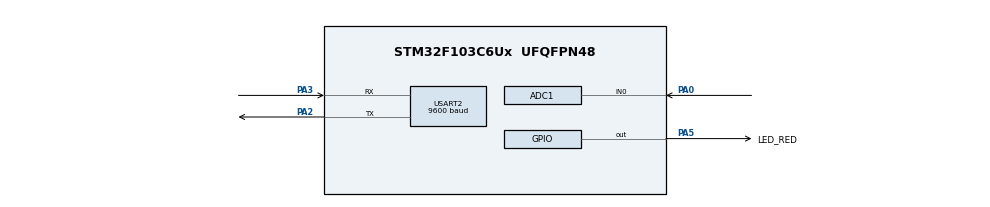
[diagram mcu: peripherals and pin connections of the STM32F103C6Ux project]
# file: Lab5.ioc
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ADC1.Channel-0\#ChannelRegularConversion=ADC_CHANNEL_0
ADC1.ContinuousConvMode=ENABLE
ADC1.NbrOfConversionFlag=1
ADC1.Rank-0\#ChannelRegularConversion=1
ADC1.SamplingTime-0\#ChannelRegularConversion=ADC_SAMPLETIME_1CYCLE_5
ADC1.master=1
Mcu.Family=STM32F1
Mcu.Name=STM32F103C6Ux
Mcu.Package=UFQFPN48
NVIC.PriorityGroup=NVIC_PRIORITYGROUP_4
NVIC.TIM2_IRQn=true\:0\:0\:false\:false\:true\:true\:true
NVIC.USART2_IRQn=true\:0\:0\:false\:false\:true\:true\:true
PA0-WKUP.Signal=ADCx_IN0
PA2.Mode=Asynchronous
PA2.Signal=USART2_TX
PA3.Mode=Asynchronous
PA3.Signal=USART2_RX
PA5.GPIO_Label=LED_RED
PA5.Signal=GPIO_Output
ProjectManager.HeapSize=0x200
ProjectManager.StackSize=0x400
ProjectManager.TargetToolchain=STM32CubeIDE
RCC.APB1Freq_Value=8000000
RCC.APB2Freq_Value=8000000
SH.ADCx_IN0.0=ADC1_IN0,IN0
TIM2.Period=10
TIM2.Prescaler=7999
USART2.BaudRate=9600
USART2.VirtualMode=VM_ASYNC
VP_SYS_VS_ND.Mode=No_Debug
VP_TIM2_VS_ClockSourceINT.Mode=Internal
board=custom

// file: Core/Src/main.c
/* USER CODE BEGIN Header */
/**
  ******************************************************************************
  * @file           : main.c
  * @brief          : Main program body
  ******************************************************************************
  * @attention
  *
  * <h2><center>&copy; Copyright (c) 2022 STMicroelectronics.
  * All rights reserved.</center></h2>
  *
  * This software component is licensed by ST under BSD 3-Clause license,
  * the "License"; You may not use this file except in compliance with the
  * License. You may obtain a copy of the License at:
  *                        opensource.org/licenses/BSD-3-Clause
  *
  ******************************************************************************
  */
/* USER CODE END Header */
#include "main.h"

/* USER CODE BEGIN Includes */
#include <stdio.h>
#include "software_timer.h"
/* USER CODE END Includes */

ADC_HandleTypeDef hadc1;

TIM_HandleTypeDef htim2;

UART_HandleTypeDef huart2;

void SystemClock_Config(void);
static void MX_GPIO_Init(void);
static void MX_USART2_UART_Init(void);
static void MX_TIM2_Init(void);
static void MX_ADC1_Init(void);

/* USER CODE BEGIN 0 */
#define MAX_BUFFER_SIZE  30
int check_command1 = 0;
int check_command2 = 0;
uint8_t temp = 0;
uint8_t buffer[MAX_BUFFER_SIZE];
uint8_t index_buffer = 0;
uint8_t buffer_flag = 0;
uint32_t ADC_value = 0;
int flag = 0;
char str[50];

void HAL_UART_RxCpltCallback(UART_HandleTypeDef *huart){
	if(huart->Instance == USART2){
		buffer[index_buffer] = temp;
		buffer_flag = 1;
		if(index_buffer == 30) index_buffer = 0;
		HAL_UART_Receive_IT(&huart2, &temp, 1);
	}
}
/* USER CODE END 0 */

int main(void)
{

  /* MCU Configuration--------------------------------------------------------*/

  /* Reset of all peripherals, Initializes the Flash interface and the Systick. */
  HAL_Init();

  /* Configure the system clock */
  SystemClock_Config();

  /* Initialize all configured peripherals */
  MX_GPIO_Init();
  MX_USART2_UART_Init();
  MX_TIM2_Init();
  MX_ADC1_Init();
  /* USER CODE BEGIN 2 */
  HAL_TIM_Base_Start_IT (& htim2 );
  HAL_UART_Receive_IT (& huart2 , &temp , 1);
  /* USER CODE END 2 */
  /* Infinite loop */
  /* USER CODE BEGIN WHILE */
  void command_parser_fsm()
  {
	  flag = 1;
	  HAL_UART_Transmit (& huart2 , buffer , sizeof(buffer),3000);
  }

  void uart_communiation_fsm()
  {
	  switch (buffer[index_buffer]) {
		case 33:
			if(check_command1 == 0 && flag == 1)
			{
				check_command1++;
				flag = 0;
			}
			if(check_command1 != 0 && flag == 1)
			{
				check_command1 = 0;
				flag = 0;
			}
			break;
		case 82:
			if(check_command1 == 1 && flag == 1)
			{
				check_command1++;
				flag = 0;
			}
			if(check_command1 != 1 && flag == 1)
			{
				check_command1 = 0;
				flag = 0;
			}
			break;
		case 83:
			if(check_command1 == 2 && flag == 1)
			{
				check_command1++;
				flag = 0;
			}
			if(check_command1 != 2 && flag == 1)
			{
				check_command1 = 0;
				flag = 0;
			}
			break;
		case 84:
			if(check_command1 == 3 && flag == 1)
			{
				check_command1++;
				flag = 0;
			}
			if(check_command1 != 3 && flag == 1)
			{
				check_command1 = 0;
				flag = 0;
			}
			break;
		case 35:
			if(check_command1 == 4 && flag == 1)
			{
				check_command1++;
				flag = 0;
			}
			if(check_command1 != 4 && flag == 1)
			{
				check_command1 = 0;
				flag = 0;
			}
			break;
		default:
			if(check_command1 != 5)
			{
				check_command1 = 0;
				flag = 0;
			}
			break;
	  }
	  if(check_command1 == 5)
	  {
		  if(timer1_flag == 1)
		  {
			  HAL_ADC_Start(&hadc1);
			  ADC_value = HAL_ADC_GetValue (& hadc1 );
			  HAL_ADC_Stop(&hadc1);
			  HAL_UART_Transmit (& huart2 , ( void *) str , sprintf (str , " !ADC=%d#\n", ADC_value ), 1000);
			  setTimer1(1000);
		  }
		  switch (buffer[index_buffer]) {
			  case 33:
					if(check_command2 == 0 && flag == 1)
					{
						check_command2++;
						flag = 0;
					}
					if(check_command2 != 0 && flag == 1)
					{
						check_command2 = 0;
						flag = 0;
					}
					break;
			  case 79:
				  	if(check_command2 == 1 && flag == 1)
					{
						check_command2++;
						flag = 0;
					}
				  	if(check_command2 != 1 && flag == 1)
					{
						check_command2 = 0;
						flag = 0;
					}
					break;
			  case 75:
					if(check_command2 == 2  && flag == 1)
					{
						check_command2++;
						flag = 0;
					}
					if(check_command2 != 2 && flag == 1)
					{
						check_command2 = 0;
						flag = 0;
					}
					break;
			  case 35:
					if(check_command2 == 3  && flag == 1)
					{
						check_command2++;
						flag = 0;
					}
					if(check_command2 != 3 && flag == 1)
					{
						check_command2 = 0;
						flag = 0;
					}
					break;
			default:
				check_command2 = 0;
				break;

		  }
		  if(check_command2 == 4)
		  {
			  check_command1 = 0;
			  check_command2 = 0;
		  }
	  }
	  if(timer2_flag == 1)
	  {
		  HAL_GPIO_TogglePin ( LED_RED_GPIO_Port , LED_RED_Pin );
		  setTimer2(1000);
	  }
  }
  setTimer1(1000);
  setTimer2(1000);
  while (1)
  {
	  if(buffer_flag == 1){
		 command_parser_fsm();
		 buffer_flag = 0;
	 }
	 uart_communiation_fsm ();
    /* USER CODE END WHILE */

  }
}

void SystemClock_Config(void)
{
  RCC_OscInitTypeDef RCC_OscInitStruct = {0};
  RCC_ClkInitTypeDef RCC_ClkInitStruct = {0};
  RCC_PeriphCLKInitTypeDef PeriphClkInit = {0};

  /** Initializes the RCC Oscillators according to the specified parameters
  * in the RCC_OscInitTypeDef structure.
  */
  RCC_OscInitStruct.OscillatorType = RCC_OSCILLATORTYPE_HSI;
  RCC_OscInitStruct.HSIState = RCC_HSI_ON;
  RCC_OscInitStruct.HSICalibrationValue = RCC_HSICALIBRATION_DEFAULT;
  RCC_OscInitStruct.PLL.PLLState = RCC_PLL_NONE;
  if (HAL_RCC_OscConfig(&RCC_OscInitStruct) != HAL_OK)
  {
    Error_Handler();
  }
  /** Initializes the CPU, AHB and APB buses clocks
  */
  RCC_ClkInitStruct.ClockType = RCC_CLOCKTYPE_HCLK|RCC_CLOCKTYPE_SYSCLK
                              |RCC_CLOCKTYPE_PCLK1|RCC_CLOCKTYPE_PCLK2;
  RCC_ClkInitStruct.SYSCLKSource = RCC_SYSCLKSOURCE_HSI;
  RCC_ClkInitStruct.AHBCLKDivider = RCC_SYSCLK_DIV1;
  RCC_ClkInitStruct.APB1CLKDivider = RCC_HCLK_DIV1;
  RCC_ClkInitStruct.APB2CLKDivider = RCC_HCLK_DIV1;

  if (HAL_RCC_ClockConfig(&RCC_ClkInitStruct, FLASH_LATENCY_0) != HAL_OK)
  {
    Error_Handler();
  }
  PeriphClkInit.PeriphClockSelection = RCC_PERIPHCLK_ADC;
  PeriphClkInit.AdcClockSelection = RCC_ADCPCLK2_DIV2;
  if (HAL_RCCEx_PeriphCLKConfig(&PeriphClkInit) != HAL_OK)
  {
    Error_Handler();
  }
}

static void MX_ADC1_Init(void)
{

  ADC_ChannelConfTypeDef sConfig = {0};

  /** Common config
  */
  hadc1.Instance = ADC1;
  hadc1.Init.ScanConvMode = ADC_SCAN_DISABLE;
  hadc1.Init.ContinuousConvMode = ENABLE;
  hadc1.Init.DiscontinuousConvMode = DISABLE;
  hadc1.Init.ExternalTrigConv = ADC_SOFTWARE_START;
  hadc1.Init.DataAlign = ADC_DATAALIGN_RIGHT;
  hadc1.Init.NbrOfConversion = 1;
  if (HAL_ADC_Init(&hadc1) != HAL_OK)
  {
    Error_Handler();
  }
  /** Configure Regular Channel
  */
  sConfig.Channel = ADC_CHANNEL_0;
  sConfig.Rank = ADC_REGULAR_RANK_1;
  sConfig.SamplingTime = ADC_SAMPLETIME_1CYCLE_5;
  if (HAL_ADC_ConfigChannel(&hadc1, &sConfig) != HAL_OK)
  {
    Error_Handler();
  }

}

static void MX_TIM2_Init(void)
{

  TIM_ClockConfigTypeDef sClockSourceConfig = {0};
  TIM_MasterConfigTypeDef sMasterConfig = {0};

  htim2.Instance = TIM2;
  htim2.Init.Prescaler = 7999;
  htim2.Init.CounterMode = TIM_COUNTERMODE_UP;
  htim2.Init.Period = 10;
  htim2.Init.ClockDivision = TIM_CLOCKDIVISION_DIV1;
  htim2.Init.AutoReloadPreload = TIM_AUTORELOAD_PRELOAD_DISABLE;
  if (HAL_TIM_Base_Init(&htim2) != HAL_OK)
  {
    Error_Handler();
  }
  sClockSourceConfig.ClockSource = TIM_CLOCKSOURCE_INTERNAL;
  if (HAL_TIM_ConfigClockSource(&htim2, &sClockSourceConfig) != HAL_OK)
  {
    Error_Handler();
  }
  sMasterConfig.MasterOutputTrigger = TIM_TRGO_RESET;
  sMasterConfig.MasterSlaveMode = TIM_MASTERSLAVEMODE_DISABLE;
  if (HAL_TIMEx_MasterConfigSynchronization(&htim2, &sMasterConfig) != HAL_OK)
  {
    Error_Handler();
  }

}

static void MX_USART2_UART_Init(void)
{

  huart2.Instance = USART2;
  huart2.Init.BaudRate = 9600;
  huart2.Init.WordLength = UART_WORDLENGTH_8B;
  huart2.Init.StopBits = UART_STOPBITS_1;
  huart2.Init.Parity = UART_PARITY_NONE;
  huart2.Init.Mode = UART_MODE_TX_RX;
  huart2.Init.HwFlowCtl = UART_HWCONTROL_NONE;
  huart2.Init.OverSampling = UART_OVERSAMPLING_16;
  if (HAL_UART_Init(&huart2) != HAL_OK)
  {
    Error_Handler();
  }

}

static void MX_GPIO_Init(void)
{
  GPIO_InitTypeDef GPIO_InitStruct = {0};

  /* GPIO Ports Clock Enable */
  __HAL_RCC_GPIOA_CLK_ENABLE();

  /*Configure GPIO pin Output Level */
  HAL_GPIO_WritePin(LED_RED_GPIO_Port, LED_RED_Pin, GPIO_PIN_RESET);

  /*Configure GPIO pin : LED_RED_Pin */
  GPIO_InitStruct.Pin = LED_RED_Pin;
  GPIO_InitStruct.Mode = GPIO_MODE_OUTPUT_PP;
  GPIO_InitStruct.Pull = GPIO_NOPULL;
  GPIO_InitStruct.Speed = GPIO_SPEED_FREQ_LOW;
  HAL_GPIO_Init(LED_RED_GPIO_Port, &GPIO_InitStruct);

}

/* USER CODE BEGIN 4 */
void HAL_TIM_PeriodElapsedCallback ( TIM_HandleTypeDef * htim )
{
	timerRun();
}

/* USER CODE END 4 */

void Error_Handler(void)
{
  __disable_irq();
  while (1)
  {
  }
}

/************************ (C) COPYRIGHT STMicroelectronics *****END OF FILE****/
